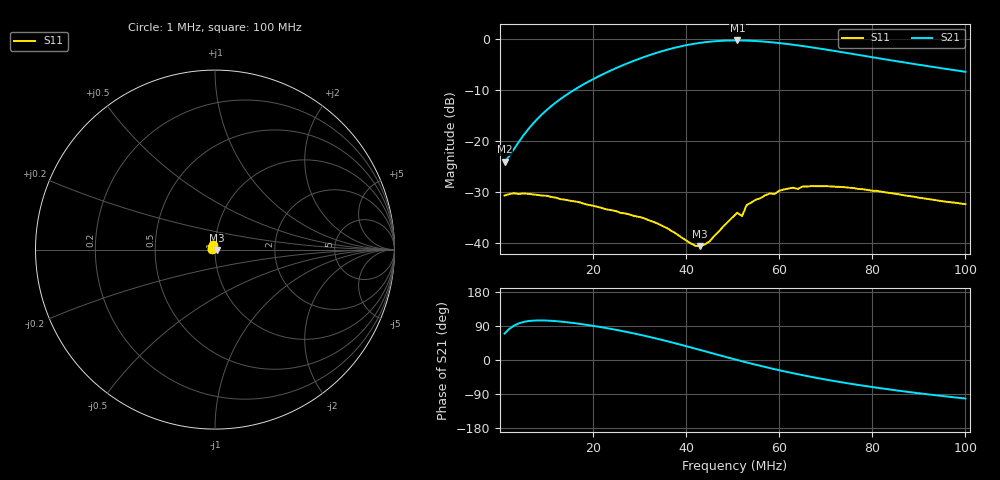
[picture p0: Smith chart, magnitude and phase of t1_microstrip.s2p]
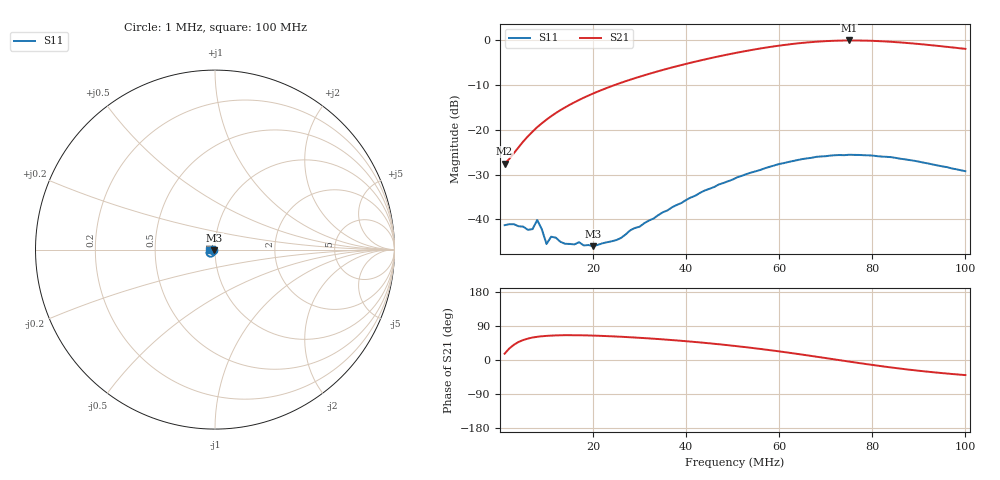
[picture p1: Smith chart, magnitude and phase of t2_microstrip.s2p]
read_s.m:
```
%% Analisis de todas las mediciones de los distintos circuitos
%clc; clear; close all;

show_individuales = true;
show_parcial_tx = false;
show_parcial_rx = false;
show_full = false;
show_failed_full_fca = false;


%% Plot de los parametros S de los componentes individuales
files_individuales = {...
    "mediciones/individuales/t1_microstrip.s2p", ...
    "mediciones/individuales/t2_microstrip.s2p", ...
    "mediciones/individuales/t3_microstrip.s2p", ...
    "mediciones/individuales/fca_cha_00.s2p", ...
    "mediciones/individuales/bga616_a_5v.s2p", ...
    "mediciones/individuales/tx_amp_b_12v.s2p", ...
    "mediciones/individuales/tia_ltc_pd.s2p", ...
    "mediciones/individuales/lmh34400_pd.s2p", ...
};

if (show_individuales)
    for i=1:1:length(files_individuales)
        a = sparameters(files_individuales{i});
        figure();
        rfplot(a)
        title(files_individuales{i}, Interpreter="none")
    end
end



%% Plot de los parametros S del transmisor en conjunto
files_parciales_tx = {...
    %"mediciones/parciales_tx/t1__tx_amp.s2p", ...
    %"mediciones/parciales_tx/t2__tx_amp.s2p", ...
    %"mediciones/parciales_tx/t3__tx_amp.s2p", ...
    "mediciones/parciales_tx/t1__bga.s2p", ...
    "mediciones/parciales_tx/t2__bga.s2p", ...
    "mediciones/parciales_tx/t3__bga.s2p", ...
    "mediciones/parciales_tx/t1__bga__fca_12v.s2p", ...
    "mediciones/parciales_tx/t2__bga__fca_12v.s2p", ...
    "mediciones/parciales_tx/t3__bga__fca_12v.s2p", ...
    %"mediciones/parciales_tx/t1__tx_amp__fca.s2p", ...
    %"mediciones/parciales_tx/t2__tx_amp__fca.s2p", ...
    %"mediciones/parciales_tx/t3__tx_amp__fca.s2p", ...
};

% TODO borrar
% files_parciales_tx = {...
%     "mediciones/parciales_tx/t1__tx_amp_10v.s2p", ...           % TODO cambiar aca por 12V
%     "mediciones/parciales_tx/t1__tx_amp_10v__fca_5v.s2p", ...   % TODO cambiar aca por 12V
% };

if (show_parcial_tx)
    for i=1:1:length(files_parciales_tx)
        a = sparameters(files_parciales_tx{i});
        figure();
        rfplot(a)
        title(files_parciales_tx{i}, Interpreter="none")
    end
end


%% Plot de los parametros S del receptor en conjunto
files_parciales_rx = {...
    "mediciones/parciales_rx/fca__led__sfh203__lmh34400.s2p", ...
    "mediciones/parciales_rx/fca__led__sfh203__lmh34400__bga616.s2p", ...
    "mediciones/parciales_rx/fca__led__sfh203__lmh34400__bga616__noisy.s2p", ...
    "mediciones/parciales_rx/t1__fca__led__sfh203__lmh34400__bga616__noisy.s2p", ...
};

if (show_parcial_rx)
    for i=1:1:length(files_parciales_rx)
        a = sparameters(files_parciales_rx{i});
        figure();
        rfplot(a)
        title(files_parciales_rx{i}, Interpreter="none")
    end
end


%% Plot de los parametros S del sistema completo
files_full = {...
    "mediciones/full/t1__bga__fca12v__led21__sfh203__ltc__bga.s2p",  ...
    "mediciones/full/t2__bga__fca12v__led21__sfh203__ltc__bga.s2p",  ...
    "mediciones/full/t3__bga__fca12v__led21__sfh203__ltc__bga.s2p",  ...
};

if (show_full)
    for i=1:1:length(files_full)
        a = sparameters(files_full{i});
        figure();
        rfplot(a)
        title(files_full{i}, Interpreter="none")
    end
end

%% Plot de los parametros S con led y fotodiodo
% Este set de mediciones fallo porque el FCA estaba alimentado con 5V en
% vez de 12V, lo que se cree que hace que sature el dispositivo.
files_failed_full_fca = {...
    "mediciones/fallidas/full_fca/full_0t_pdb_tia_ltc.s2p", ...
    "mediciones/fallidas/full_fca/full_1t_pdb_tia_ltc.s2p", ...
    "mediciones/fallidas/full_fca/full_2t_pdb_tia_ltc.s2p", ...
    "mediciones/fallidas/full_fca/full_0t_sfh_tia_ltc.s2p", ...
    "mediciones/fallidas/full_fca/full_1t_sfh_tia_ltc.s2p", ...
    "mediciones/fallidas/full_fca/full_2t_sfh_tia_ltc.s2p", ...
};


if (show_failed_full_fca)
    for i=1:1:length(files_failed_full_fca)
        a = sparameters(files_failed_full_fca{i});
        figure();
        rfplot(a)
        title(files_failed_full_fca{i}, Interpreter="none")
    end
end
```
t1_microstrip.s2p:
# HZ S RI R 50
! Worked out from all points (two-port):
!   100 points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, 1 MHz to 100 MHz, reference 50 ohm
!   highest |S21| = -0.33 dB at 51 MHz (marker M1); lowest = -24.1 dB at 1 MHz (marker M2)
!   |S21| within 3 dB of the highest: 31.72 MHz to 78.15 MHz (46.43 MHz wide, 84.5 % of centre)
!   lowest |S11| = -40.6 dB at 43 MHz (marker M3), VSWR 1.02, Z = 50.9 - j0.174 ohm
!   |S11| at or under -10 dB: start of sweep to end of sweep
!   S12 and S22 are empty: the file has one direction only
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1000001  -0.0102 0.0274  0.0215 0.0587  0 0  0 0
1e7  -0.00526 0.0286  -0.0487 0.1939  0 0  0 0
2.2e7  -0.000223 0.022  0.0304 0.4458  0 0  0 0
3.4e7  0.00525 0.0145  0.4182 0.606  0 0  0 0
4.3e7  0.00918 -0.00171  0.8161 0.4068  0 0  0 0
5.1e7  -0.00469 -0.0193  0.9622 -0.000484  0 0  0 0
5.2e7  -0.00503 -0.0177  0.9597 -0.0555  0 0  0 0
6e7  -0.0281 -0.0165  0.8085 -0.4116  0 0  0 0
6.9e7  -0.036 -0.00172  0.5185 -0.6052  0 0  0 0
8.4e7  -0.0288 0.011  0.1254 -0.6028  0 0  0 0
1e8  -0.0216 0.0107  -0.0962 -0.4651  0 0  0 0
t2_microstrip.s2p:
# HZ S RI R 50
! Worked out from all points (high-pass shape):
!   100 points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, 1 MHz to 100 MHz, reference 50 ohm
!   highest |S21| = -0.06 dB at 75 MHz (marker M1); lowest = -27.5 dB at 1 MHz (marker M2)
!   |S21| within 3 dB of the highest: 49.59 MHz to end of sweep
!   lowest |S11| = -46.0 dB at 20 MHz (marker M3), VSWR 1.01, Z = 49.6 - j0.308 ohm
!   |S11| at or under -10 dB: start of sweep to end of sweep
!   S12 and S22 are empty: the file has one direction only
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1000001  -0.00863 0.00031  0.0403 0.0121  0 0  0 0
7000001  -0.0078 0.0004  0.0487 0.0821  0 0  0 0
8000001  -0.00986 0.00039  0.0516 0.0938  0 0  0 0
1e7  -0.00532 0.000154  0.0578 0.1164  0 0  0 0
1.1e7  -0.00633 0.00109  0.0615 0.1279  0 0  0 0
2e7  -0.00397 -0.0031  0.1097 0.229  0 0  0 0
5.1e7  -0.00448 -0.0293  0.5856 0.4309  0 0  0 0
6.2e7  -0.0197 -0.0392  0.8457 0.2973  0 0  0 0
7.5e7  -0.0428 -0.0307  0.9907 -0.0718  0 0  0 0
8.7e7  -0.0454 -0.0116  0.8537 -0.3828  0 0  0 0
1e8  -0.0344 -0.00358  0.6147 -0.5123  0 0  0 0
